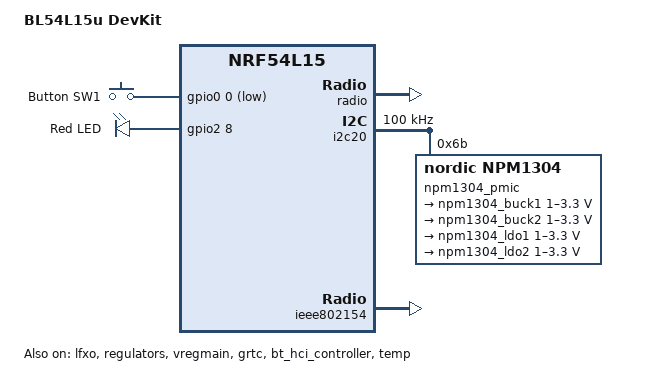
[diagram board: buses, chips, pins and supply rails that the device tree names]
/*
 * BL54L15u DevKit - nRF54L15 nPM1304 development board
 *
 * Hardware:
 *   - nRF54L15 SoC (application core)
 *   - NPM1304 PMIC at 0x6B on I2C20 (SDA=P1.07, SCL=P1.08) with RGB LED
 *   - Button SW1 on P0.00
 *   - Red LED on P2.08
 *   - Internal RRAM only (no external flash)
 *
 * Board revisions:
 *   2026v1: I2C20 = PMIC, I2C21 = Qwiic J1, I2C22 = Qwiic J8, no UART, bad LFXO footprint
 *   2026v2: I2C20 = PMIC + Qwiic J1 (shared), I2C21 = Qwiic J8, adds UART + fixed LFXO
 */

/dts-v1/;

#include <nordic/nrf54l15_cpuapp.dtsi>
#include <dt-bindings/regulator/npm13xx.h>
#include <zephyr/dt-bindings/input/input-event-codes.h>
#include "bl54l15u_devkit-pinctrl.dtsi"
#include "../bl54l15u_partitions.dtsi"

/* Static flash partitions (PM disabled for this board in project sysbuild config). */

/ {
	model = "BL54L15u DevKit";
	compatible = "local,bl54l15u-devkit";

	chosen {
		zephyr,code-partition = &slot0_partition;
		zephyr,sram = &cpuapp_sram;
		zephyr,flash-controller = &rram_controller;
		zephyr,flash = &cpuapp_rram;
		zephyr,ieee802154 = &ieee802154;
	};

	/* Button SW1 on P0.00 */
	buttons: buttons {
		compatible = "gpio-keys";
		sw1: sw1 {
			gpios = <&gpio0 0 (GPIO_PULL_UP | GPIO_ACTIVE_LOW)>;
			label = "Button SW1";
			zephyr,code = <INPUT_KEY_0>;
		};
	};

	/* Red LED on P2.08 */
	leds: leds {
		compatible = "gpio-leds";
		red_led: red_led {
			gpios = <&gpio2 8 GPIO_ACTIVE_HIGH>;
			label = "Red LED";
		};
	};

	aliases {
		sw0 = &sw1;
		led0 = &red_led;
		watchdog0 = &wdt31;
	};
};

/* Use full RRAM and SRAM - no FLPR core reservation */
&cpuapp_rram {
	reg = <0x0 DT_SIZE_K(1524)>;
};

&cpuapp_sram {
	status = "okay";
	reg = <0x20000000 DT_SIZE_K(256)>;
	ranges = <0x0 0x20000000 0x40000>;
};

/* 32.768 kHz crystal with ~9 pF load capacitance (2026v2+) */
&lfxo {
	status = "okay";
	load-capacitors = "internal";
	load-capacitance-femtofarad = <9000>;
};

&clock {
	status = "okay";
};

/* BL54L15u module contains a 32 MHz crystal
 * Internal load capacitance set to 15 pF */
&hfxo {
	load-capacitors = "internal";
	load-capacitance-femtofarad = <15000>;
};

/* Power regulators */
&regulators {
	status = "okay";
};

&vregmain {
	status = "okay";
	regulator-initial-mode = <NRF5X_REG_MODE_DCDC>;
};

/* Radio for Thread/BLE */
&radio {
	status = "okay";
};

/* Global Real-Time Counter */
&grtc {
	owned-channels = <0 1 2 3 4 5 6 7 8 9 10 11>;
	child-owned-channels = <3 4 7 8 9 10 11>;
	status = "okay";
};

/* I2C20 for NPM1304 PMIC (v2: also Qwiic J1) */
&i2c20 {
	status = "okay";
	clock-frequency = <I2C_BITRATE_STANDARD>;
	pinctrl-0 = <&i2c20_default>;
	pinctrl-1 = <&i2c20_sleep>;
	pinctrl-names = "default", "sleep";

	npm1304_pmic: pmic@6b {
		compatible = "nordic,npm1304";
		reg = <0x6b>;

		npm1304_gpio: gpio-controller {
			compatible = "nordic,npm1304-gpio";
			gpio-controller;
			#gpio-cells = <2>;
			ngpios = <5>;
		};

		npm1304_regulators: regulators {
			compatible = "nordic,npm1304-regulator";

			npm1304_buck1: BUCK1 {
				regulator-min-microvolt = <1000000>;
				regulator-max-microvolt = <3300000>;
			};

			npm1304_buck2: BUCK2 {
				regulator-min-microvolt = <1000000>;
				regulator-max-microvolt = <3300000>;
				regulator-init-microvolt = <3000000>;
			};

			npm1304_ldo1: LDO1 {
				regulator-min-microvolt = <1000000>;
				regulator-max-microvolt = <3300000>;
			};

			npm1304_ldo2: LDO2 {
				regulator-min-microvolt = <1000000>;
				regulator-max-microvolt = <3300000>;
			};
		};

		npm1304_charger: charger {
			compatible = "nordic,npm1304-charger";
			term-microvolt = <4100000>;      /* 4.1V for ~90% charge on standard LiPo */
			term-warm-microvolt = <4000000>; /* 4.0V at warm temp (safer) */
			current-microamp = <50000>;      /* 50mA charging current */
			vbus-limit-microamp = <100000>;  /* 100mA VBUS limit (conservative USB unconfigured) */
			thermistor-ohms = <0>;           /* NTC disabled */
			thermistor-beta = <3950>;        /* Required property, ignored when NTC disabled */
			charging-enable;
		};

		npm1304_leds: leds {
			compatible = "nordic,npm1304-led";
			/* LED0 - Blue */
			nordic,led0-mode = "host";
			/* LED1 - Red */
			nordic,led1-mode = "error";
			/* LED2 - Green */
			nordic,led2-mode = "charging";
		};

		npm1304_wdt: watchdog {
			compatible = "nordic,npm1304-wdt";
		};
	};
};

/* I2C21 for Qwiic J8 connector (v1: Qwiic J1) */
&i2c21 {
	status = "disabled";
	clock-frequency = <I2C_BITRATE_STANDARD>;
	pinctrl-0 = <&i2c21_default>;
	pinctrl-1 = <&i2c21_sleep>;
	pinctrl-names = "default", "sleep";
};

/* IEEE 802.15.4 for Thread */
&ieee802154 {
	status = "okay";
};

/* Bluetooth */
&bt_hci_controller {
	status = "okay";
};

/* GPIO ports */
&gpio0 {
	status = "okay";
};

&gpio1 {
	status = "okay";
};

&gpio2 {
	status = "okay";
};

/* GPIOTE instances for GPIO interrupts/events */
&gpiote20 {
	status = "okay";
};

&gpiote30 {
	status = "okay";
};

/* Temperature sensor (required for radio temperature compensation) */
&temp {
	status = "okay";
};

/* Disable unused peripherals for power savings */

/* No UART on this board - use RTT for debug */
&uart20 {
	status = "disabled";
};

&uart21 {
	status = "disabled";
};

&uart22 {
	status = "disabled";
};

&uart30 {
	status = "disabled";
};

/* No external SPI flash */
&spi00 {
	status = "disabled";
};

/* No NFC - release P1.02/P1.03 as GPIOs */
&nfct {
	status = "disabled";
};

&uicr {
	nfct-pins-as-gpios;
};

/* No ADC needed */
&adc {
	status = "disabled";
};

/* No PWM needed */
&pwm20 {
	status = "disabled";
};
